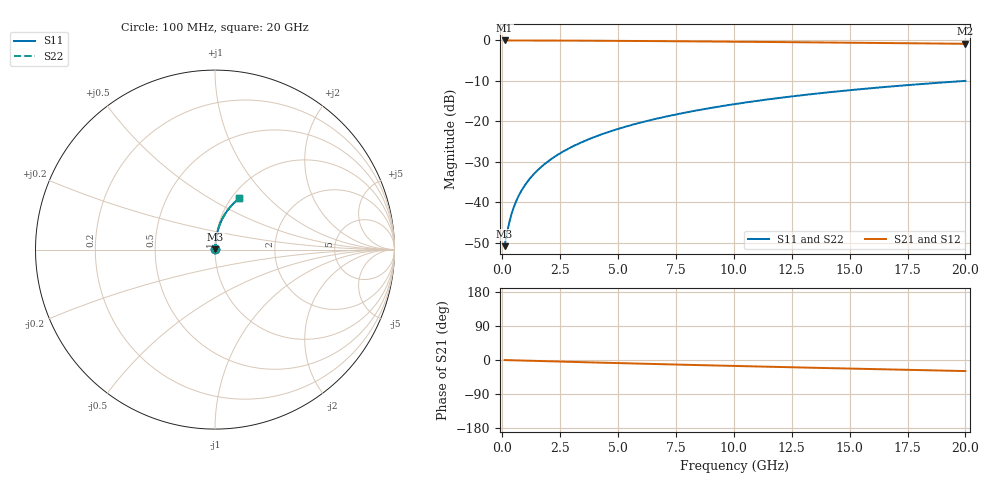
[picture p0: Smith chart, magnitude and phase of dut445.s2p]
! Touchstone file exported from HFSS 2024.1.0
!  File:  C:/UserFiles/LocalFiles/RDL_TSV_Batchsim/temp_RDL_top_445_1779676940.aedt
!  Generated:  10:44:19 AM May 25, 2026
!  Design:  RDL_top
!  Project:  temp_RDL_top_445_1779676940
!  Setup:  Setup1
!  Solution:  Sweep
! Variables:
!  dtsv = 10.80580581um
!  hbump = 3um
!  htsv = 57.97um
!  ldown = 100um
!  lrdl = 394.29um
!  p = 40
!  p1 = 43.15um
!  rhole = 1um
!  t = 450um
!  tdown = 3.915915916um
!  trdl = 4.16um
!  wdown = 15.38538539um
!  wrdl = 15.41um
# GHz S MA R 50.000000
! Terminal data exported
! Port[1] = Box2_T1
! Port[2] = Box2_T2
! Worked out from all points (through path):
!   200 points, 100 MHz to 20 GHz, reference 50 ohm
!   highest |S21| = -0.02 dB at 100 MHz (marker M1); lowest = -0.8 dB at 20 GHz (marker M2)
!   group delay of S21, straight-line fit = 4.03 ps
!   lowest |S11| = -50.9 dB at 100 MHz (marker M3), VSWR 1.01, Z = 50.2 + j0.171 ohm
!   |S11| at or under -10 dB: start of sweep to end of sweep
!   |S22| runs from -50.9 to -10.0 dB; largest |S21 - S12| = 3.8e-15
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0.1  0.002863 36.5  0.9977 -0.2  0.9977 -0.2  0.002863 36.5
! Gamma 0 0 0 0
! Port Impedance 50 0 50 0
0.2  0.004123 55.4  0.9976 -0.3  0.9976 -0.3  0.004122 55.4
0.3  0.005608 64.7  0.9975 -0.5  0.9975 -0.5  0.005607 64.7
0.4  0.007163 69.8  0.9974 -0.7  0.9974 -0.7  0.007162 69.9
0.5  0.008737 73.0  0.9973 -0.9  0.9973 -0.9  0.008737 73.1
0.6  0.01031 75.2  0.9972 -1.0  0.9972 -1.0  0.01032 75.3
0.8  0.01346 78.0  0.997 -1.4  0.997 -1.4  0.01346 78.1
1.1  0.01817 80.4  0.9967 -1.8  0.9967 -1.8  0.01817 80.4
1.5  0.02444 82.0  0.9962 -2.5  0.9962 -2.5  0.02445 82.0
1.8  0.02917 82.7  0.9957 -3.0  0.9957 -3.0  0.02917 82.7
2.1  0.03392 83.2  0.9951 -3.5  0.9951 -3.5  0.03392 83.2
2.7  0.04345 83.6  0.9938 -4.5  0.9938 -4.5  0.04345 83.6
3.5  0.05626 83.6  0.9915 -5.8  0.9915 -5.8  0.05626 83.6
4.2  0.06755 83.4  0.9893 -6.9  0.9893 -6.9  0.06754 83.4
5  0.08052 82.9  0.9863 -8.2  0.9863 -8.2  0.08051 82.9
5.9  0.09521 82.2  0.9827 -9.6  0.9827 -9.6  0.09519 82.2
6.8  0.11 81.3  0.9788 -11.0  0.9788 -11.0  0.1099 81.3
8.3  0.1346 79.7  0.9717 -13.2  0.9717 -13.2  0.1346 79.7
10.1  0.1642 77.6  0.9628 -15.8  0.9628 -15.8  0.1641 77.6
13.4  0.2173 73.4  0.9452 -20.5  0.9452 -20.5  0.2172 73.3
16.7  0.2681 69.0  0.9266 -24.9  0.9266 -24.9  0.268 68.9
20  0.3158 64.6  0.9071 -29.2  0.9071 -29.2  0.3156 64.6
